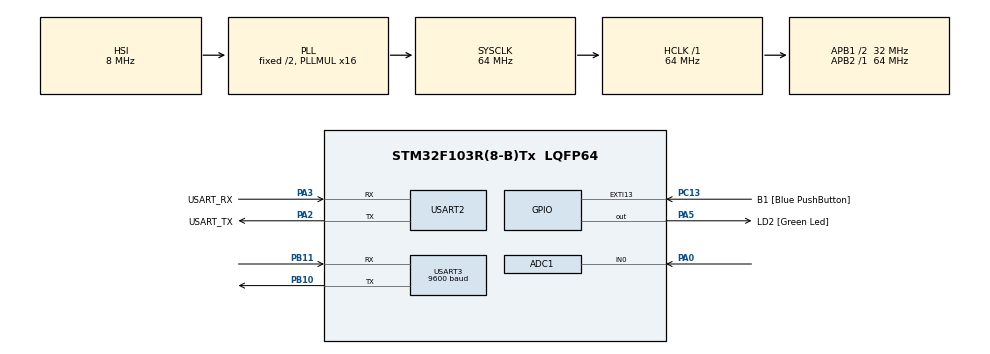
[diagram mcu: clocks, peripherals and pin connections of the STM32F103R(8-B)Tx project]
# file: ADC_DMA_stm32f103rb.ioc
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ADC1.Channel-1\#ChannelRegularConversion=ADC_CHANNEL_0
ADC1.ContinuousConvMode=ENABLE
ADC1.EnableRegularConversion=ENABLE
ADC1.NbrOfConversionFlag=1
ADC1.Rank-1\#ChannelRegularConversion=1
ADC1.SamplingTime-1\#ChannelRegularConversion=ADC_SAMPLETIME_1CYCLE_5
ADC1.master=1
Dma.ADC1.0.Direction=DMA_PERIPH_TO_MEMORY
Dma.ADC1.0.Instance=DMA1_Channel1
Dma.ADC1.0.MemDataAlignment=DMA_MDATAALIGN_HALFWORD
Dma.ADC1.0.MemInc=DMA_MINC_ENABLE
Dma.ADC1.0.Mode=DMA_CIRCULAR
Dma.ADC1.0.PeriphDataAlignment=DMA_PDATAALIGN_HALFWORD
Dma.ADC1.0.PeriphInc=DMA_PINC_DISABLE
Dma.ADC1.0.Priority=DMA_PRIORITY_LOW
Dma.Request0=ADC1
Dma.Request1=USART3_TX
Dma.USART3_TX.1.Direction=DMA_MEMORY_TO_PERIPH
Dma.USART3_TX.1.Instance=DMA1_Channel2
Dma.USART3_TX.1.MemDataAlignment=DMA_MDATAALIGN_HALFWORD
Dma.USART3_TX.1.MemInc=DMA_MINC_ENABLE
Dma.USART3_TX.1.Mode=DMA_CIRCULAR
Dma.USART3_TX.1.PeriphDataAlignment=DMA_PDATAALIGN_HALFWORD
Dma.USART3_TX.1.PeriphInc=DMA_PINC_DISABLE
Dma.USART3_TX.1.Priority=DMA_PRIORITY_LOW
Mcu.Family=STM32F1
Mcu.Name=STM32F103R(8-B)Tx
Mcu.Package=LQFP64
NVIC.DMA1_Channel1_IRQn=true\:0\:0\:false\:false\:true\:false\:true
NVIC.DMA1_Channel2_IRQn=true\:0\:0\:false\:false\:true\:false\:true
NVIC.EXTI15_10_IRQn=true\:0\:0\:false\:false\:true\:true\:true
NVIC.PriorityGroup=NVIC_PRIORITYGROUP_4
PA0-WKUP.Signal=ADCx_IN0
PA13.GPIO_Label=TMS
PA13.Mode=Serial_Wire
PA13.Signal=SYS_JTMS-SWDIO
PA14.GPIO_Label=TCK
PA14.Mode=Serial_Wire
PA14.Signal=SYS_JTCK-SWCLK
PA2.GPIO_Label=USART_TX
PA2.GPIO_Mode=GPIO_MODE_AF_PP
PA2.GPIO_PuPd=GPIO_NOPULL
PA2.GPIO_Speed=GPIO_SPEED_FREQ_LOW
PA2.Mode=Asynchronous
PA2.Signal=USART2_TX
PA3.GPIO_Label=USART_RX
PA3.GPIO_Mode=GPIO_MODE_AF_PP
PA3.GPIO_PuPd=GPIO_NOPULL
PA3.GPIO_Speed=GPIO_SPEED_FREQ_LOW
PA3.Mode=Asynchronous
PA3.Signal=USART2_RX
PA5.GPIO_Label=LD2 [Green Led]
PA5.GPIO_ModeDefaultOutputPP=GPIO_MODE_OUTPUT_PP
PA5.GPIO_PuPd=GPIO_NOPULL
PA5.GPIO_Speed=GPIO_SPEED_FREQ_LOW
PA5.Signal=GPIO_Output
PB10.Mode=Asynchronous
PB10.Signal=USART3_TX
PB11.Mode=Asynchronous
PB11.Signal=USART3_RX
PB3.GPIO_Label=SWO
PB3.Signal=SYS_JTDO-TRACESWO
PC13-TAMPER-RTC.GPIO_Label=B1 [Blue PushButton]
PC13-TAMPER-RTC.GPIO_PuPd=GPIO_NOPULL
PC13-TAMPER-RTC.Signal=GPXTI13
PC14-OSC32_IN.Signal=RCC_OSC32_IN
PC15-OSC32_OUT.Signal=RCC_OSC32_OUT
PD0-OSC_IN.Signal=RCC_OSC_IN
PD1-OSC_OUT.Signal=RCC_OSC_OUT
ProjectManager.HeapSize=0x200
ProjectManager.StackSize=0x400
ProjectManager.TargetToolchain=SW4STM32
RCC.ADCPresc=RCC_ADCPCLK2_DIV8
RCC.AHBFreq_Value=64000000
RCC.APB1CLKDivider=RCC_HCLK_DIV2
RCC.APB1Freq_Value=32000000
RCC.APB1TimFreq_Value=64000000
RCC.APB2Freq_Value=64000000
RCC.APB2TimFreq_Value=64000000
RCC.HCLKFreq_Value=64000000
RCC.PLLMUL=RCC_PLL_MUL16
RCC.RTCClockSelection=RCC_RTCCLKSOURCE_LSE
RCC.SYSCLKFreq_VALUE=64000000
RCC.SYSCLKSource=RCC_SYSCLKSOURCE_PLLCLK
RCC.USBFreq_Value=64000000
SH.ADCx_IN0.0=ADC1_IN0,IN0
USART2.VirtualMode=VM_ASYNC
USART3.BaudRate=9600
USART3.VirtualMode=VM_ASYNC
board=NUCLEO-F103RB

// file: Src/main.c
/* USER CODE BEGIN Header */
/** Author: Rodrigo Drummond Lima
 * Federal University of Minas Gerais (UFMG)
  ******************************************************************************
  * @file           : main.c
  * @brief          : Application program for DMA and ADC continuous conversion
  *
  * GNU Liscence
  *
  * This application note was developed as a project for the Embedded Systems
  * Programming course at the Federal University of Minas Gerais (UFMG)
  * in August 2021, with professor Ricardo de Oliveira Duarte.
  ******************************************************************************
  * @attention
  *
  * <h2><center>&copy; Copyright (c) 2021 STMicroelectronics.
  * All rights reserved.</center></h2>
  *
  * This software component is licensed by ST under BSD 3-Clause license,
  * the "License"; You may not use this file except in compliance with the
  * License. You may obtain a copy of the License at:
  *                        opensource.org/licenses/BSD-3-Clause
  *
  ******************************************************************************
  */
/* USER CODE END Header */
#include "main.h"

/* USER CODE BEGIN Includes */
#define ADC_BUF_LEN 216
/* USER CODE END Includes */

ADC_HandleTypeDef hadc1;
DMA_HandleTypeDef hdma_adc1;

UART_HandleTypeDef huart2;
UART_HandleTypeDef huart3;
DMA_HandleTypeDef hdma_usart3_tx;

/* USER CODE BEGIN PV */
uint16_t adc_buf[ADC_BUF_LEN];
uint8_t adc_buf_8bit[ADC_BUF_LEN];
/* USER CODE END PV */

void SystemClock_Config(void);
static void MX_GPIO_Init(void);
static void MX_DMA_Init(void);
static void MX_ADC1_Init(void);
static void MX_USART2_UART_Init(void);
static void MX_USART3_UART_Init(void);
/* USER CODE BEGIN PFP */
void DMATransferComplete(DMA_HandleTypeDef *hdma);
/* USER CODE END PFP */

int main(void)
{

  /* MCU Configuration--------------------------------------------------------*/

  /* Reset of all peripherals, Initializes the Flash interface and the Systick. */
  HAL_Init();

  /* Configure the system clock */
  SystemClock_Config();

  /* Initialize all configured peripherals */
  MX_GPIO_Init();
  MX_DMA_Init();
  MX_ADC1_Init();
  MX_USART2_UART_Init();
  MX_USART3_UART_Init();
  /* USER CODE BEGIN 2 */
  HAL_ADC_Start_DMA(&hadc1, (uint32_t*)adc_buf, ADC_BUF_LEN);
  /* USER CODE END 2 */

  /* Infinite loop */
  /* USER CODE BEGIN WHILE */
  while (1)
  {
	huart3.Instance->CR3 |= USART_CR3_DMAT;
    /* USER CODE END WHILE */

    /* USER CODE BEGIN 3 */
	HAL_DMA_Start_IT(&hdma_usart3_tx, (uint32_t)adc_buf_8bit, (uint32_t)&huart3.Instance->DR, ADC_BUF_LEN/2);
  }
  /* USER CODE END 3 */
}

void SystemClock_Config(void)
{
  RCC_OscInitTypeDef RCC_OscInitStruct = {0};
  RCC_ClkInitTypeDef RCC_ClkInitStruct = {0};
  RCC_PeriphCLKInitTypeDef PeriphClkInit = {0};

  /** Initializes the RCC Oscillators according to the specified parameters
  * in the RCC_OscInitTypeDef structure.
  */
  RCC_OscInitStruct.OscillatorType = RCC_OSCILLATORTYPE_HSI;
  RCC_OscInitStruct.HSIState = RCC_HSI_ON;
  RCC_OscInitStruct.HSICalibrationValue = RCC_HSICALIBRATION_DEFAULT;
  RCC_OscInitStruct.PLL.PLLState = RCC_PLL_ON;
  RCC_OscInitStruct.PLL.PLLSource = RCC_PLLSOURCE_HSI_DIV2;
  RCC_OscInitStruct.PLL.PLLMUL = RCC_PLL_MUL16;
  if (HAL_RCC_OscConfig(&RCC_OscInitStruct) != HAL_OK)
  {
    Error_Handler();
  }
  /** Initializes the CPU, AHB and APB buses clocks
  */
  RCC_ClkInitStruct.ClockType = RCC_CLOCKTYPE_HCLK|RCC_CLOCKTYPE_SYSCLK
                              |RCC_CLOCKTYPE_PCLK1|RCC_CLOCKTYPE_PCLK2;
  RCC_ClkInitStruct.SYSCLKSource = RCC_SYSCLKSOURCE_PLLCLK;
  RCC_ClkInitStruct.AHBCLKDivider = RCC_SYSCLK_DIV1;
  RCC_ClkInitStruct.APB1CLKDivider = RCC_HCLK_DIV2;
  RCC_ClkInitStruct.APB2CLKDivider = RCC_HCLK_DIV1;

  if (HAL_RCC_ClockConfig(&RCC_ClkInitStruct, FLASH_LATENCY_2) != HAL_OK)
  {
    Error_Handler();
  }
  PeriphClkInit.PeriphClockSelection = RCC_PERIPHCLK_ADC;
  PeriphClkInit.AdcClockSelection = RCC_ADCPCLK2_DIV8;
  if (HAL_RCCEx_PeriphCLKConfig(&PeriphClkInit) != HAL_OK)
  {
    Error_Handler();
  }
}

static void MX_ADC1_Init(void)
{

  ADC_ChannelConfTypeDef sConfig = {0};

  /** Common config
  */
  hadc1.Instance = ADC1;
  hadc1.Init.ScanConvMode = ADC_SCAN_DISABLE;
  hadc1.Init.ContinuousConvMode = ENABLE;
  hadc1.Init.DiscontinuousConvMode = DISABLE;
  hadc1.Init.ExternalTrigConv = ADC_SOFTWARE_START;
  hadc1.Init.DataAlign = ADC_DATAALIGN_RIGHT;
  hadc1.Init.NbrOfConversion = 1;
  if (HAL_ADC_Init(&hadc1) != HAL_OK)
  {
    Error_Handler();
  }
  /** Configure Regular Channel
  */
  sConfig.Channel = ADC_CHANNEL_0;
  sConfig.Rank = ADC_REGULAR_RANK_1;
  sConfig.SamplingTime = ADC_SAMPLETIME_1CYCLE_5;
  if (HAL_ADC_ConfigChannel(&hadc1, &sConfig) != HAL_OK)
  {
    Error_Handler();
  }

}

static void MX_USART2_UART_Init(void)
{

  huart2.Instance = USART2;
  huart2.Init.BaudRate = 115200;
  huart2.Init.WordLength = UART_WORDLENGTH_8B;
  huart2.Init.StopBits = UART_STOPBITS_1;
  huart2.Init.Parity = UART_PARITY_NONE;
  huart2.Init.Mode = UART_MODE_TX_RX;
  huart2.Init.HwFlowCtl = UART_HWCONTROL_NONE;
  huart2.Init.OverSampling = UART_OVERSAMPLING_16;
  if (HAL_UART_Init(&huart2) != HAL_OK)
  {
    Error_Handler();
  }

}

static void MX_USART3_UART_Init(void)
{

  huart3.Instance = USART3;
  huart3.Init.BaudRate = 9600;
  huart3.Init.WordLength = UART_WORDLENGTH_8B;
  huart3.Init.StopBits = UART_STOPBITS_1;
  huart3.Init.Parity = UART_PARITY_NONE;
  huart3.Init.Mode = UART_MODE_TX_RX;
  huart3.Init.HwFlowCtl = UART_HWCONTROL_NONE;
  huart3.Init.OverSampling = UART_OVERSAMPLING_16;
  if (HAL_UART_Init(&huart3) != HAL_OK)
  {
    Error_Handler();
  }

}

static void MX_DMA_Init(void)
{

  /* DMA controller clock enable */
  __HAL_RCC_DMA1_CLK_ENABLE();

  /* DMA interrupt init */
  /* DMA1_Channel1_IRQn interrupt configuration */
  HAL_NVIC_SetPriority(DMA1_Channel1_IRQn, 0, 0);
  HAL_NVIC_EnableIRQ(DMA1_Channel1_IRQn);
  /* DMA1_Channel2_IRQn interrupt configuration */
  HAL_NVIC_SetPriority(DMA1_Channel2_IRQn, 0, 0);
  HAL_NVIC_EnableIRQ(DMA1_Channel2_IRQn);

}

static void MX_GPIO_Init(void)
{
  GPIO_InitTypeDef GPIO_InitStruct = {0};

  /* GPIO Ports Clock Enable */
  __HAL_RCC_GPIOC_CLK_ENABLE();
  __HAL_RCC_GPIOD_CLK_ENABLE();
  __HAL_RCC_GPIOA_CLK_ENABLE();
  __HAL_RCC_GPIOB_CLK_ENABLE();

  /*Configure GPIO pin Output Level */
  HAL_GPIO_WritePin(LD2_GPIO_Port, LD2_Pin, GPIO_PIN_RESET);

  /*Configure GPIO pin : B1_Pin */
  GPIO_InitStruct.Pin = B1_Pin;
  GPIO_InitStruct.Mode = GPIO_MODE_IT_RISING;
  GPIO_InitStruct.Pull = GPIO_NOPULL;
  HAL_GPIO_Init(B1_GPIO_Port, &GPIO_InitStruct);

  /*Configure GPIO pin : LD2_Pin */
  GPIO_InitStruct.Pin = LD2_Pin;
  GPIO_InitStruct.Mode = GPIO_MODE_OUTPUT_PP;
  GPIO_InitStruct.Pull = GPIO_NOPULL;
  GPIO_InitStruct.Speed = GPIO_SPEED_FREQ_LOW;
  HAL_GPIO_Init(LD2_GPIO_Port, &GPIO_InitStruct);

  /* EXTI interrupt init*/
  HAL_NVIC_SetPriority(EXTI15_10_IRQn, 0, 0);
  HAL_NVIC_EnableIRQ(EXTI15_10_IRQn);

}

/* USER CODE BEGIN 4 */
void HAL_ADC_ConvHalfCpltCallback(ADC_HandleTypeDef* hadc){
	HAL_GPIO_WritePin(LD2_GPIO_Port, LD2_Pin, GPIO_PIN_SET);
	volatile int j;
	for(j=0; j<ADC_BUF_LEN/2; j++){
		adc_buf_8bit[j] = adc_buf[j] >> 4;
	}
}

void HAL_ADC_ConvCpltCallback(ADC_HandleTypeDef* hadc){
	HAL_GPIO_WritePin(LD2_GPIO_Port, LD2_Pin, GPIO_PIN_RESET);
	volatile int i;
		for(i=0; i<ADC_BUF_LEN; i++){
			adc_buf_8bit[i] = adc_buf[i] >> 4;
		}
}

void DMATransferComplete(DMA_HandleTypeDef *hdma){
	huart3.Instance->CR3 &= ~(USART_CR3_DMAT);
}
/* USER CODE END 4 */

void Error_Handler(void)
{
  __disable_irq();
  while (1)
  {
  }
}

/************************ (C) COPYRIGHT STMicroelectronics *****END OF FILE****/
